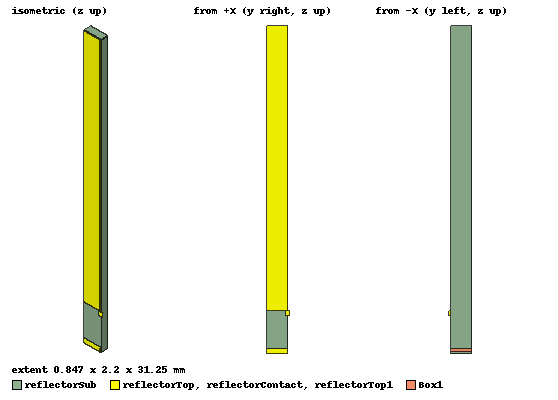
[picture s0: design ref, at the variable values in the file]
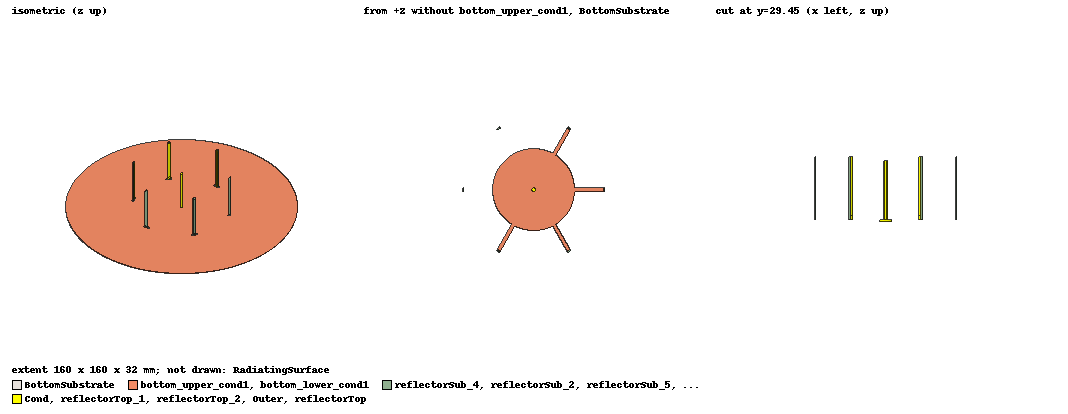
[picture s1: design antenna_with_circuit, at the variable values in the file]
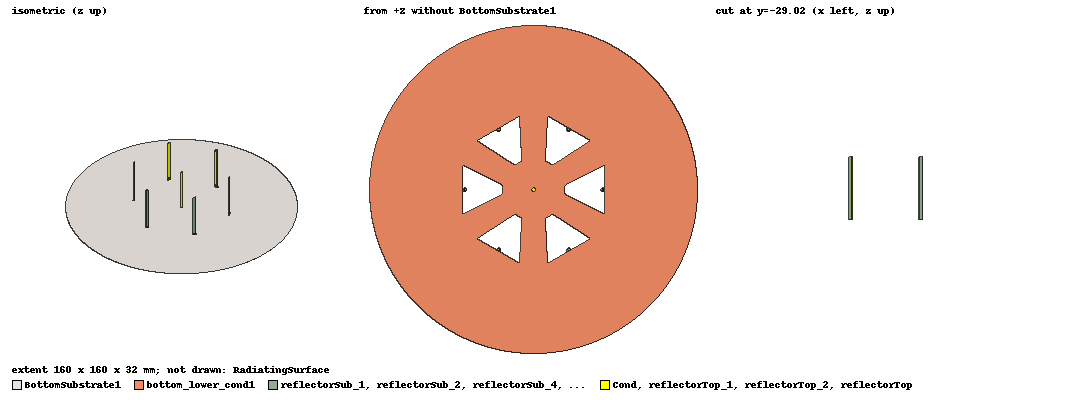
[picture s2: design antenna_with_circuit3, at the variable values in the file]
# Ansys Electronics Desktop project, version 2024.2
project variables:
  $groundT = 17um
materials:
  Rogers RO4003 (tm): permittivity=3.55 dielectric_loss_tangent=0.0027
  copper: permeability=0.999991 conductivity=58000000
  vacuum: permittivity=1
  Teflon (tm): permittivity=2.1 dielectric_loss_tangent=0.001

design ref (HFSS, HFSS Terminal Network, model units mm)
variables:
  refy = 0mm
  refW = 2mm
  lambda = 125mm
  refSubThickness = 0.813mm
  refz = 0mm
  refx = 0mm
  refH = lambda/4
  sep = 2mm
  contact = 0.5mm
  SubH = 0.203mm
  bottomPad = 3.6mm
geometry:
  reflectorSub [Rogers RO4003 (tm)] = box(corner=(refx-$groundT, refy-refW/2, refz), size=(-refSubThickness, refW, refH))
  reflectorTop [copper] = box(corner=(refx-$groundT, refy-refW/2, refz + bottomPad + contact), size=($groundT, refW, refH - bottomPad - contact))
  Box1 [copper] = box(corner=(refx-$groundT-refSubThickness, refy-refW/2, refz + $groundT + SubH), size=(-$groundT, refW, 0.3mm))
  reflectorContact [copper] = box(corner=(refx-$groundT, refy-refW/2, refz), size=($groundT, refW, contact))
  reflectorTop1 [copper] = box(corner=(refx-$groundT, refy+refW/2-0.2 mm, refz + bottomPad + contact-0.5mm), size=($groundT, 0.4mm, 0.5mm))
  group reflector_Group = reflectorSub, reflectorTop, reflectorContact, reflectorTop1

design antenna_with_circuit (HFSS, HFSS Terminal Network, model units mm)
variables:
  Hout = Hdown
  Rout = 3.15mm
  groundT = 17um
  Hdown = 1mm
  Rdia = 2.65mm
  SubW = 150mm
  Hdia = Hdown
  SubL = 150mm
  lam = 114mm
  Rcond = 0.79mm
  SubH = 0.203mm
  Hcond = Hdown + 2*groundT + subH + lam/4
  Rhole = 1mm
  RholeTop = Rhole
  lambda = 136mm
  refW = 1.8mm
  refH = 31mm
  refy = 0mm
  refSubThickness = 0.813mm
  refx = -lambda/4
  refz = 0
  contact = 2mm
  sep = 0mm
  RadSubstrate = 80mm
  drillRadiius = 0.5mm
  slotLength = refW
  ground_bottom_rad = 20mm
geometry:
  BottomSubstrate [Rogers RO4003 (tm)] = cylinder(axis=Z, base_centre=(0mm, 0mm, groundT), radius=RadSubstrate, height=SubH)
  bottom_upper_cond1 [copper, solve inside] = cylinder(axis=Z, base_centre=(0mm, 0mm, SubH+groundT), radius=RadSubstrate, height=groundT)
  hole = cylinder(axis=Z, base_centre=(0mm, 0mm, 0mm), radius=Rhole, height=SubH+groundT)
  holeTop = cylinder(axis=Z, base_centre=(0mm, 0mm, SubH+groundT), radius=RholeTop, height=groundT)
  bottom_upper_cond1.subtract(holeTop)
  BottomSubstrate.subtract(hole)
  Outer [copper] = cylinder(axis=Z, base_centre=(0mm, 0mm, -Hdown), radius=Rout, height=Hout)
  Cylinder1 = cylinder(axis=Z, base_centre=(0mm, 0mm, -Hdown), radius=Rdia, height=Hdia)
  Outer.subtract(Cylinder1)
  Dielectric [Teflon (tm)] = cylinder(axis=Z, base_centre=(0mm, 0mm, -Hdown), radius=Rdia, height=Hdia)
  Cond [copper] = cylinder(axis=Z, base_centre=(0mm, 0mm, -Hdown), radius=Rcond, height=Hcond)
  Cylinder2_1 = Cond.copy()
  Dielectric.subtract(Cylinder2_1)
  RadiatingSurface [vacuum] = region(absolute_offset=41.666667mm on all sides)
  reflectorSub [Rogers RO4003 (tm)] = box(corner=(refx-$groundT, refy-refW/2, refz), size=(-refSubThickness, refW, refH))
  reflectorTop [copper] = box(corner=(refx-$groundT, refy-refW/2, refz + contact), size=($groundT, refW, refH -contact))
  HoldingContact [copper] = box(corner=(refx-$groundT-refSubThickness, refy-refW/2, refz + $groundT + SubH), size=(-$groundT, refW, 0.3mm))
  refContact [copper] = box(corner=(refx-$groundT, refy-refW/2, refz), size=($groundT, refW, contact))
  substrateCut = box(corner=(refx, -slotLength/2, groundT), size=(-2 * drillRadiius, slotLength, SubH))
  Cylinder2 = cylinder(axis=Z, base_centre=(refx - drillRadiius, -slotLength /2, groundT), radius=drillRadiius, height=SubH)
  Cylinder3 = cylinder(axis=Z, base_centre=(refx - drillRadiius, slotLength /2, groundT), radius=drillRadiius, height=SubH)
  substrateCut.unite(Cylinder2, Cylinder3)
  ground_top_layer_drill_cut = box(corner=(refx - 2*drillRadiius, - ( refW + 3mm)/2, groundT + SubH), size=(1.5mm, refW +  3 mm, groundT))
  substrateCut_1..substrateCut_5 = substrateCut.duplicate_around_axis(axis=Z, angle=60deg, total=6)
  reflectorSub_1..reflectorSub_5 [Rogers RO4003 (tm)] = reflectorSub.duplicate_around_axis(axis=Z, angle=60deg, total=6)
  reflectorTop_1..reflectorTop_5 [copper] = reflectorTop.duplicate_around_axis(axis=Z, angle=60deg, total=6)
  HoldingContact_1..HoldingContact_5 [copper] = HoldingContact.duplicate_around_axis(axis=Z, angle=60deg, total=6)
  refContact_1..refContact_5 [copper] = refContact.duplicate_around_axis(axis=Z, angle=60deg, total=6)
  ground_top_layer_drill_cut_1..ground_top_layer_drill_cut_5 = ground_top_layer_drill_cut.duplicate_around_axis(axis=Z, angle=60deg, total=6)
  bottom_upper_cond1.subtract(ground_top_layer_drill_cut, ground_top_layer_drill_cut_1..ground_top_layer_drill_cut_5)
  BottomSubstrate.subtract(substrateCut, substrateCut_1..substrateCut_5)
  bottom_lower_cond1 [copper] = cylinder(axis=Z, base_centre=(0mm, 0mm, 0mm), radius=ground_bottom_rad, height=groundT)
  hole1 = cylinder(axis=Z, base_centre=(0mm, 0mm, 0mm), radius=Rhole, height=SubH+groundT)
  hole_2 = hole1.copy()
  bottom_lower_cond1.subtract(hole_2)
  hole1.delete()
  Box1 = box(corner=(-refx, -refW/2, 0mm), size=(refx + ground_bottom_rad - 1 mm, refW, groundT))
  Box1_2, Box1_3 [copper, non-model], Box1_1, Box1_4, Box1_5 = Box1.duplicate_around_axis(axis=Z, angle=60deg, total=6)
  bottom_lower_cond1.unite(Box1_1, Box1_4, Box1, Box1_5)
  group Reflector = reflectorSub, reflectorTop, HoldingContact, refContact, reflectorSub_1..reflectorSub_5, reflectorTop_1..reflectorTop_5, HoldingContact_1..HoldingContact_5, refContact_1..refContact_5
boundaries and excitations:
  Open1: Radiation Objects=RadiatingSurface
  PerfE1: Perfect E Faces=BottomSubstrate.face(at (-1, 0, 0.1185))
  1: Lumped Port Faces=Cond.face(-z end) Dielectric.face(-z end) LumpedPortType=Modal Modes{Mode1{IntLine{(0, 0, -1) -> (2.65, 0, -1)} CharImp=Zpi}} Impedance=50ohm
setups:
  Setup1: HfssDriven Frequency=2.4GHz MaxDeltaS=0.02 MaximumPasses=6 MinimumPasses=1 MinimumConvergedPasses=1 PercentRefinement=30 BasisOrder=1 PortAccuracy=2 DrivenSolverType="Direct Solver"
    sweep Sweep: 2GHz to 3GHz, 101 points; Type=Interpolating InterpTolerance=0.5 InterpMaxSolns=250 PassivityErrorTolerance=0.0001
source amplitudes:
  1:1: 1V 0deg
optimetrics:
  ParametricSetup2: Parametric disabled Sim._Setups=[Setup1]
    sweep Rhole: LIN 0.8mm 3mm 0.2mm
    sweep RadSubstrate: LIN 40mm 90mm 10mm
    sweep lam: LIN 110mm 125mm 1mm
  ParametricSetup3: Parametric disabled Sim._Setups=[Setup1]
    sweep refH: LIN 25mm 35mm 0.5mm
    sweep lambda: LIN 110mm 140mm 1mm
  ParametricSetup4: Parametric disabled Sim._Setups=[Setup1]
    sweep lam: LIN 112mm 118mm 2mm
    sweep lambda: LIN 128mm 136mm 2mm
    sweep refH: LIN 26mm 32mm 1mm
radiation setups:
  3D: Infinite Sphere Theta=-180deg..180deg step 2deg Phi=-180deg..180deg step 2deg
  Elevation: Infinite Sphere Theta=-180deg..180deg step 1deg Phi=0deg..90deg step 90deg
  Azimuth: Infinite Sphere Theta=90deg..90deg step 0deg Phi=-180deg..180deg step 1deg
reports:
  S Parameter Plot 1: dB(S(1,1)) vs Freq on Setup1 : Sweep; markers MX1 at x=2.4e+09
  Gain Plot 1: dB(GainTotal) vs Phi, Theta on Setup1 : LastAdaptive, 3D [Freq=2.4GHz]
  S Parameter Plot 2: dB(S(1,1)) vs Freq on Setup1 : Sweep [lam=all lambda=all refW=all refH=all]; markers MX1 at x=2.4041695e+09

design antenna_with_circuit3 (HFSS, HFSS Terminal Network, model units mm)
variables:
  Hout = Hdown
  Rout = 3.15mm
  groundT = 17um
  Hdown = 1mm
  Rdia = 2.65mm
  Hdia = Hdown
  lam = 116mm  # tune 58mm..174mm
  Rcond = 0.79mm
  SubH = 0.203mm
  Hcond = Hdown + 2*groundT + subH + lam/4
  Rhole = 1mm
  RholeTop = Rhole
  lambda = 134mm  # tune 67mm..201mm
  refW = 2mm
  refH = 31mm  # tune 16.5mm..49.5mm
  refy = 0mm
  refSubThickness = 0.813mm
  refx = -lambda/4
  refz = 0
  contact = 2mm
  RadSubstrate = 80mm
  drillRadiius = 0.5mm
  slotLength = refW
  ground_bottom_rad = 15mm  # tune 10.5mm..31.5mm
  padLength = 1mm
  W50_203 = 0.45mm
  taperLen = 0.6mm  # tune 0.3mm..0.9mm
  W0603 = 0.45mm
  CapPadLen = 0.5mm
  L0603 = 0.5mm
  sep0603 = 0.8mm
  cutout_l1 = 4mm
  cutout_l2 = 24mm
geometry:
  BottomSubstrate = cylinder(axis=Z, base_centre=(0mm, 0mm, groundT), radius=RadSubstrate, height=SubH)
  bottom_upper_cond1 = cylinder(axis=Z, base_centre=(0mm, 0mm, SubH+groundT), radius=RadSubstrate, height=groundT)
  hole = cylinder(axis=Z, base_centre=(0mm, 0mm, 0mm), radius=Rhole, height=SubH+groundT)
  holeTop = cylinder(axis=Z, base_centre=(0mm, 0mm, SubH+groundT), radius=RholeTop, height=groundT)
  bottom_upper_cond1.subtract(holeTop)
  BottomSubstrate.subtract(hole)
  Outer [copper] = cylinder(axis=Z, base_centre=(0mm, 0mm, -Hdown), radius=Rout, height=Hout)
  Cylinder1 = cylinder(axis=Z, base_centre=(0mm, 0mm, -Hdown), radius=Rdia, height=Hdia)
  Outer.subtract(Cylinder1)
  Dielectric [Teflon (tm)] = cylinder(axis=Z, base_centre=(0mm, 0mm, -Hdown), radius=Rdia, height=Hdia)
  Cond [copper] = cylinder(axis=Z, base_centre=(0mm, 0mm, -Hdown), radius=Rcond, height=Hcond)
  Cylinder2_1 = Cond.copy()
  Dielectric.subtract(Cylinder2_1)
  RadiatingSurface [vacuum] = region(absolute_offset=41.666667mm on all sides)
  reflectorSub [Rogers RO4003 (tm)] = box(corner=(refx-$groundT, refy-refW/2, refz), size=(-refSubThickness, refW, refH))
  reflectorTop [copper] = box(corner=(refx-$groundT, refy-refW/2, refz + contact), size=($groundT, refW, refH -contact))
  HoldingContact [copper] = box(corner=(refx-$groundT-refSubThickness, refy-refW/2, refz + $groundT + SubH), size=(-$groundT, refW, 0.3mm))
  refContact [copper] = box(corner=(refx-$groundT, refy-refW/2, refz), size=($groundT, refW, contact))
  substrateCut = box(corner=(refx, -slotLength/2, groundT), size=(-2 * drillRadiius, slotLength, SubH))
  Cylinder2 = cylinder(axis=Z, base_centre=(refx - drillRadiius, -slotLength /2, groundT), radius=drillRadiius, height=SubH)
  Cylinder3 = cylinder(axis=Z, base_centre=(refx - drillRadiius, slotLength /2, groundT), radius=drillRadiius, height=SubH)
  substrateCut.unite(Cylinder2, Cylinder3)
  ground_top_layer_drill_cut = box(corner=(refx - 2*drillRadiius, - ( refW + 3mm)/2, groundT + SubH), size=(1.5mm, refW +  3 mm, groundT))
  substrateCut_1..substrateCut_5 = substrateCut.duplicate_around_axis(axis=Z, angle=60deg, total=6)
  reflectorSub_1..reflectorSub_5 [Rogers RO4003 (tm)] = reflectorSub.duplicate_around_axis(axis=Z, angle=60deg, total=6)
  reflectorTop_1..reflectorTop_5 [copper] = reflectorTop.duplicate_around_axis(axis=Z, angle=60deg, total=6)
  HoldingContact_1..HoldingContact_5 [copper] = HoldingContact.duplicate_around_axis(axis=Z, angle=60deg, total=6)
  refContact_1..refContact_5 [copper] = refContact.duplicate_around_axis(axis=Z, angle=60deg, total=6)
  ground_top_layer_drill_cut_1..ground_top_layer_drill_cut_5 = ground_top_layer_drill_cut.duplicate_around_axis(axis=Z, angle=60deg, total=6)
  bottom_upper_cond1.subtract(ground_top_layer_drill_cut, ground_top_layer_drill_cut_1..ground_top_layer_drill_cut_5)
  BottomSubstrate.subtract(substrateCut, substrateCut_1..substrateCut_5)
  bottom_lower_cond1 [copper] = cylinder(axis=Z, base_centre=(0mm, 0mm, 0mm), radius=RadSubstrate, height=groundT)
  hole1 = cylinder(axis=Z, base_centre=(0mm, 0mm, 0mm), radius=Rhole, height=SubH+groundT)
  hole_2 = hole1.copy()
  bottom_lower_cond1.subtract(hole_2)
  hole1.delete()
  taper [copper] = box(corner=(refx, -refW/2, 0mm), size=(taperLen, refW, groundT))
  Polyline1 = polyline(z=0mm, xy: (refx, - refW/2) (refx + taperLen, -refW/2) (refx + taperLen, -W0603 /2) (refx, - refW/2), closed, covered)
  Polyline1.thicken($groundT)
  Polyline3 = polyline(z=0mm, xy: (refx, refW/2) (refx + taperLen, refW/2) (refx + taperLen, W0603 / 2) (refx, refW/2), closed, covered)
  Polyline3.thicken(-$groundT)
  taper.subtract(Polyline1, Polyline3)
  taper_1..taper_5 [copper] = taper.duplicate_around_axis(axis=Z, angle=60deg, total=6)
  pad0603_1 [copper, non-model] = box(corner=(refx + taperLen, -W0603/2, 0mm), size=(L0603, W0603, groundT))
  pad0603_2 [copper, non-model] = box(corner=(refx + taperLen + sep0603 + L0603, -W0603/2, 0mm), size=(L0603, W0603, groundT))
  cutout1 = polyline(z=0mm, xy: (-ground_bottom_rad, cutout_l1/2) (-ground_bottom_rad, -cutout_l1/2) (refx - 2*drillRadiius, -cutout_l2 /2) (refx - 2*drillRadiius, cutout_l2 /2) (-ground_bottom_rad, cutout_l1/2), closed, covered)
  cutout1.thicken(-$groundT)
  cutout1_1..cutout1_5 = cutout1.duplicate_around_axis(axis=Z, angle=60deg, total=6)
  bottom_lower_cond1.subtract(bottom_upper_cond1, BottomSubstrate, cutout1, cutout1_1..cutout1_5)
  BottomSubstrate1 [Rogers RO4003 (tm)] = cylinder(axis=Z, base_centre=(0mm, 0mm, groundT), radius=RadSubstrate, height=SubH)
  hole2 = cylinder(axis=Z, base_centre=(0mm, 0mm, 0mm), radius=Rhole, height=SubH+groundT)
  BottomSubstrate1.subtract(hole2)
  substrateCut1 = box(corner=(refx, -slotLength/2, groundT), size=(-2 * drillRadiius, slotLength, SubH))
  Cylinder4 = cylinder(axis=Z, base_centre=(refx - drillRadiius, -slotLength /2, groundT), radius=drillRadiius, height=SubH)
  Cylinder5 = cylinder(axis=Z, base_centre=(refx - drillRadiius, slotLength /2, groundT), radius=drillRadiius, height=SubH)
  substrateCut1.unite(Cylinder4, Cylinder5)
  substrateCut_6..substrateCut_10 = substrateCut1.duplicate_around_axis(axis=Z, angle=60deg, total=6)
  BottomSubstrate1.subtract(substrateCut1, substrateCut_6..substrateCut_10)
  group Reflector = reflectorSub, reflectorTop, HoldingContact, refContact, reflectorSub_1..reflectorSub_5, reflectorTop_1..reflectorTop_5, HoldingContact_1..HoldingContact_5, refContact_1..refContact_5
  group taper_Group = taper, taper_1..taper_5
  group pad0603_Group = pad0603_1, pad0603_2
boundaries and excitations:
  Open1: Radiation Objects=RadiatingSurface
  PerfE1: Perfect E Faces=BottomSubstrate1.face(at (-1, 0, 0.1185))
  1: Lumped Port Faces=Cond.face(-z end) Dielectric.face(-z end) LumpedPortType=Modal Modes{Mode1{IntLine{(0, 0, -1) -> (2.65, 0, -1)} CharImp=Zpi}} Impedance=50ohm
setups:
  Setup1: HfssDriven Frequency=2.4GHz MaxDeltaS=0.02 MaximumPasses=6 MinimumPasses=1 MinimumConvergedPasses=1 PercentRefinement=30 BasisOrder=1 PortAccuracy=2 DrivenSolverType="Direct Solver"
    sweep Sweep: 2GHz to 3GHz, 51 points; Type=Fast SaveFields
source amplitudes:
  1:1: 1V 0deg
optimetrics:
  ParametricSetup2: Parametric disabled Sim._Setups=[Setup1]
    sweep Rhole: LIN 0.8mm 3mm 0.2mm
    sweep RadSubstrate: LIN 40mm 90mm 10mm
    sweep lam: LIN 110mm 125mm 1mm
  ParametricSetup3: Parametric disabled Sim._Setups=[Setup1]
    sweep refH: LIN 25mm 35mm 0.5mm
    sweep lambda: LIN 110mm 140mm 1mm
  ParametricSetup4: Parametric disabled Sim._Setups=[Setup1]
    sweep lam: LIN 112mm 118mm 2mm
    sweep lambda: LIN 128mm 136mm 2mm
    sweep refH: LIN 26mm 32mm 1mm
  ParametricSetup5: Parametric disabled Sim._Setups=[Setup1]
    sweep lam: LIN 112mm 116mm 2mm
    sweep ground_bottom_rad: LIN 19mm 21mm 1mm
    sweep taperLen: LIN 0.4mm 2mm 0.2mm
    sweep lambda: LIN 134mm 138mm 2mm
    sweep refH: LIN 31mm 35mm 1mm
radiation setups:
  3D: Infinite Sphere Theta=-180deg..180deg step 2deg Phi=-180deg..180deg step 2deg
  Elevation: Infinite Sphere Theta=-180deg..180deg step 1deg Phi=0deg..90deg step 90deg
  Azimuth: Infinite Sphere Theta=90deg..90deg step 0deg Phi=-180deg..180deg step 1deg
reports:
  S Parameter Plot 1: dB(S(1,1)) vs Freq on Setup1 : Sweep; markers MX1 at x=2.4e+09
  Gain Plot 1: dB(GainTotal) vs Phi, Theta on Setup1 : LastAdaptive, 3D [Freq=2.4GHz]
  S Parameter Plot 2: dB(S(1,1)) vs Freq on Setup1 : Sweep [lam=all lambda=all refW=all refH=34mm ground_bottom_rad=all taperLen=all]; markers MX1 at x=2.4004029e+09
